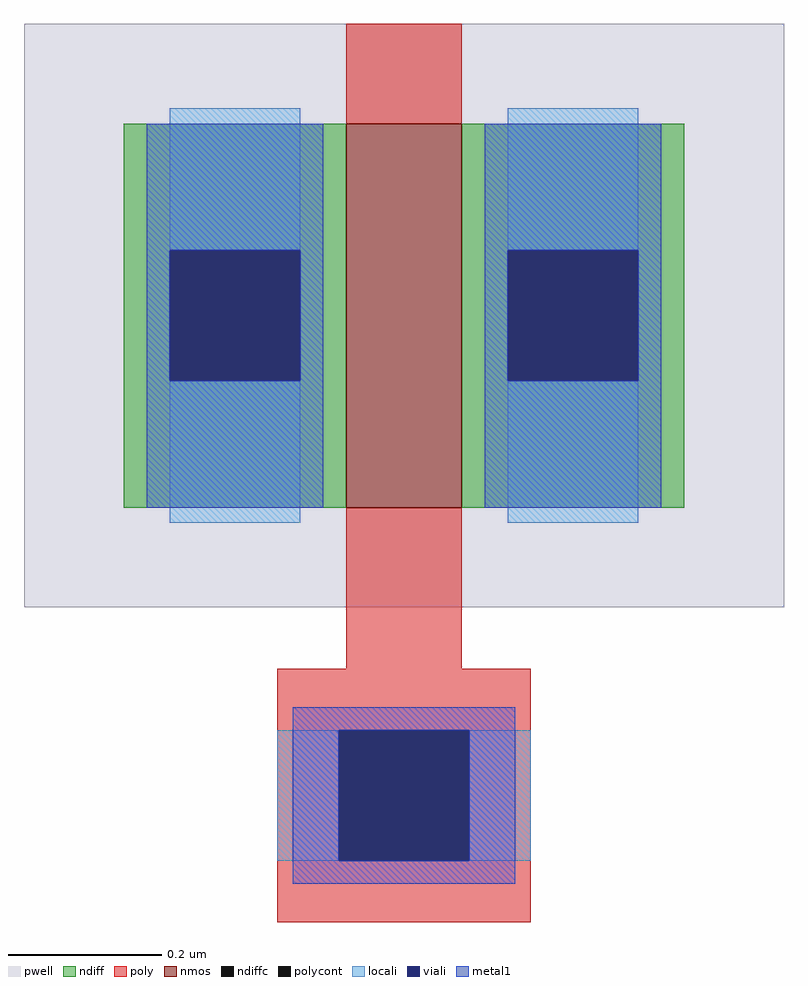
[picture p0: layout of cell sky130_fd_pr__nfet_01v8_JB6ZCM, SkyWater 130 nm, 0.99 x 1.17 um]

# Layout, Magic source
magic
tech sky130A
magscale 1 2
<< pwell >>
rect -99 -45 99 107
<< nmos >>
rect -15 -19 15 81
<< ndiff >>
rect -73 48 -15 81
rect -73 14 -61 48
rect -27 14 -15 48
rect -73 -19 -15 14
rect 15 48 73 81
rect 15 14 27 48
rect 61 14 73 48
rect 15 -19 73 14
<< ndiffc >>
rect -61 14 -27 48
rect 27 14 61 48
<< poly >>
rect -15 81 15 107
rect -15 -61 15 -19
rect -33 -77 33 -61
rect -33 -111 -17 -77
rect 17 -111 33 -77
rect -33 -127 33 -111
<< polycont >>
rect -17 -111 17 -77
<< locali >>
rect -61 48 -27 85
rect -61 -23 -27 14
rect 27 48 61 85
rect 27 -23 61 14
rect -33 -111 -17 -77
rect 17 -111 33 -77
<< viali >>
rect -61 14 -27 48
rect 27 14 61 48
rect -17 -111 17 -77
<< metal1 >>
rect -67 48 -21 81
rect -67 14 -61 48
rect -27 14 -21 48
rect -67 -19 -21 14
rect 21 48 67 81
rect 21 14 27 48
rect 61 14 67 48
rect 21 -19 67 14
rect -29 -77 29 -71
rect -29 -111 -17 -77
rect 17 -111 29 -77
rect -29 -117 29 -111
<< end >>
